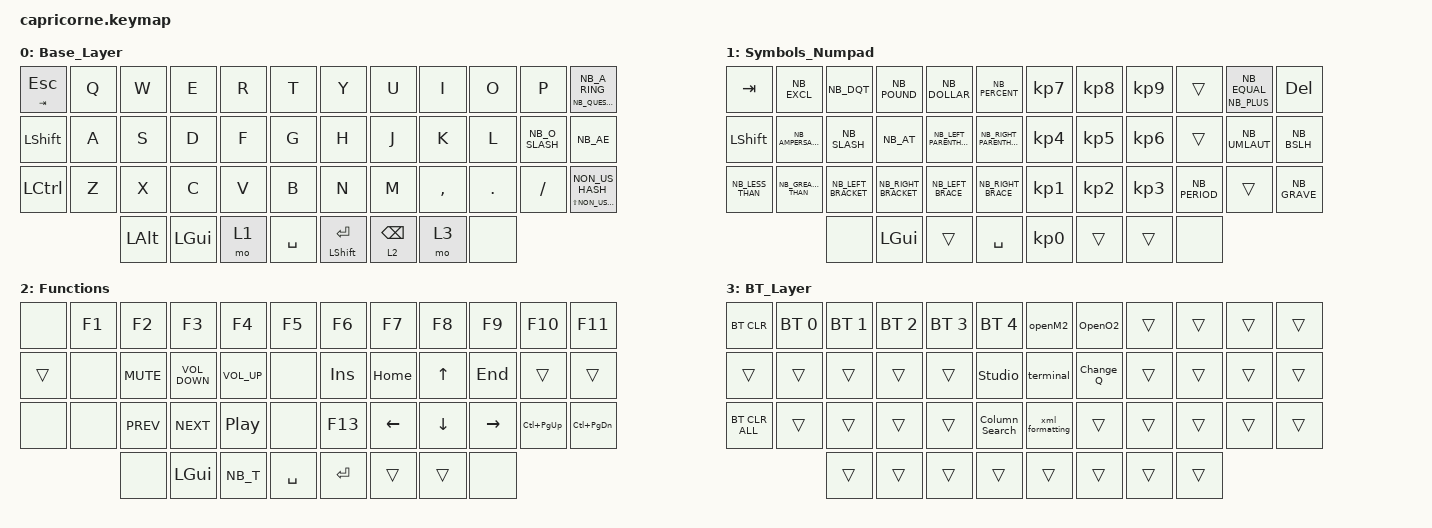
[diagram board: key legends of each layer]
/*
 * Copyright (c) 2020 The ZMK Contributors
 *
 * SPDX-License-Identifier: MIT
 */

#include "keys_nb.h"
#include <behaviors.dtsi>
#include <dt-bindings/zmk/bt.h>
#include <dt-bindings/zmk/keys.h>

/ {
    behaviors {
        Layer_Hold_Tap: Layer_Hold_Tap {
            compatible = "zmk,behavior-hold-tap";
            label = "LAYER_HOLD_TAP";
            bindings = <&mo>, <&kp>;

            #binding-cells = <2>;
            tapping-term-ms = <150>;
            flavor = "balanced";
        };

        Hold_Tap_KP: Hold_Tap_KP {
            compatible = "zmk,behavior-hold-tap";
            label = "HOLD_TAP_KP";
            bindings = <&kp>, <&kp>;

            #binding-cells = <2>;
            tapping-term-ms = <150>;
            flavor = "balanced";
        };
    };

    combos {
        compatible = "zmk,combos";

        Layer2 {
            bindings = <&mo 2>;
            key-positions = <37 38>;
        };

        refresh {
            bindings = <&kp F5>;
            key-positions = <4 5>;
        };
    };

    macros {
        Change_Q: Change_Q {
            compatible = "zmk,behavior-macro";
            #binding-cells = <0>;
            bindings = <&kp LA(NB_E)>;
            label = "CHANGE_Q";
        };

        openM2: openM2 {
            compatible = "zmk,behavior-macro";
            #binding-cells = <0>;
            bindings = <&kp LC(LA(A))>;
            label = "OPENM2";
        };

        OpenO2: OpenO2 {
            compatible = "zmk,behavior-macro";
            #binding-cells = <0>;
            bindings = <&kp LC(LA(O))>;
            label = "OPENO2";
        };

        terminal: terminal {
            compatible = "zmk,behavior-macro";
            #binding-cells = <0>;
            bindings = <&kp LA(W)>;
            label = "TERMINAL";
        };

        Column_Search: Column_Search {
            compatible = "zmk,behavior-macro";
            #binding-cells = <0>;
            bindings = <&kp LSHIFT &kp LEFT_ALT &kp NB_D>;
            label = "COLUMN_SEARCH";
        };

        xml_formatting: xml_formatting {
            compatible = "zmk,behavior-macro";
            #binding-cells = <0>;
            bindings = <&kp LCTRL &kp LEFT_SHIFT &kp LEFT_ALT &kp B>;
            label = "XML_FORMATTING";
        };
    };

    keymap {
        compatible = "zmk,keymap";

        Base_Layer {
            // -----------------------------------------------------------------------------------------
            // |  TAB |  Q  |  W  |  E  |  R  |  T  |   |  Y  |  U   |  I  |  O  |  P  | BSPC |
            // | CTRL |  A  |  S  |  D  |  F  |  G  |   |  H  |  J   |  K  |  L  |  ;  |  '   |
            // | SHFT |  Z  |  X  |  C  |  V  |  B  |   |  N  |  M   |  ,  |  .  |  /  | ESC  |
            //                    | GUI | LWR | SPC |   | ENT | RSE  | ALT |

            bindings = <
&Hold_Tap_KP TAB ESC  &kp Q  &kp W         &kp E     &kp R  &kp T        &kp Y                     &kp U                        &kp I      &kp O    &kp P           &Hold_Tap_KP NB_QUESTION NB_A_RING
&kp LEFT_SHIFT        &kp A  &kp S         &kp D     &kp F  &kp G        &kp H                     &kp J                        &kp K      &kp L    &kp NB_O_SLASH  &kp NB_AE
&kp LEFT_CONTROL      &kp Z  &kp X         &kp C     &kp V  &kp B        &kp N                     &kp M                        &kp COMMA  &kp DOT  &kp SLASH       &Hold_Tap_KP LS(NON_US_HASH) NON_US_HASH
                             &kp LEFT_ALT  &kp LGUI  &mo 1  &kp SPACE    &Hold_Tap_KP LSHFT ENTER  &Layer_Hold_Tap 2 BACKSPACE  &mo 3      &none
            >;
        };

        Symbols_Numpad {
            // -----------------------------------------------------------------------------------------
            // |  TAB |  1  |  2  |  3  |  4  |  5  |   |  6  |  7  |  8  |  9  |  0  | BSPC |
            // | BTCLR| BT1 | BT2 | BT3 | BT4 | BT5 |   | LFT | DWN |  UP | RGT |     |      |
            // | SHFT |     |     |     |     |     |   |     |     |     |     |     |      |
            //                    | GUI |     | SPC |   | ENT |     | ALT |

            bindings = <
&kp TAB           &kp NB_EXCL          &kp NB_DQT           &kp NB_POUND          &kp NB_DOLLAR            &kp NB_PERCENT              &kp KP_N7  &kp KP_N8  &kp KP_N9  &trans         &Hold_Tap_KP NB_PLUS NB_EQUAL  &kp DELETE
&kp LEFT_SHIFT    &kp NB_AMPERSAND     &kp NB_SLASH         &kp NB_AT             &kp NB_LEFT_PARENTHESIS  &kp NB_RIGHT_PARENTHESIS    &kp KP_N4  &kp KP_N5  &kp KP_N6  &trans         &kp NB_UMLAUT                  &kp NB_BSLH
&kp NB_LESS_THAN  &kp NB_GREATER_THAN  &kp NB_LEFT_BRACKET  &kp NB_RIGHT_BRACKET  &kp NB_LEFT_BRACE        &kp NB_RIGHT_BRACE          &kp KP_N1  &kp KP_N2  &kp KP_N3  &kp NB_PERIOD  &trans                         &kp NB_GRAVE
                                       &none                &kp LGUI              &trans                   &kp SPACE                   &kp KP_N0  &trans     &trans     &none
            >;
        };

        Functions {
            // -----------------------------------------------------------------------------------------
            // |  TAB |  !  |  @  |  #  |  $  |  %  |   |  ^  |  &  |  *  |  (  |  )  | BSPC |
            // | CTRL |     |     |     |     |     |   |  -  |  =  |  [  |  ]  |  \  |  `   |
            // | SHFT |     |     |     |     |     |   |  _  |  +  |  {  |  }  | "|" |  ~   |
            //                    | GUI |     | SPC |   | ENT |     | ALT |

            bindings = <
&none   &kp F1  &kp F2      &kp F3             &kp F4            &kp F5       &kp F6   &kp F7          &kp F8    &kp F9     &kp F10          &kp F11
&trans  &none   &kp C_MUTE  &kp C_VOLUME_DOWN  &kp C_VOLUME_UP   &none        &kp INS  &kp HOME        &kp UP    &kp END    &trans           &trans
&none   &none   &kp C_PREV  &kp C_NEXT         &kp C_PLAY_PAUSE  &none        &kp F13  &kp LEFT_ARROW  &kp DOWN  &kp RIGHT  &kp LC(PAGE_UP)  &kp LC(PAGE_DOWN)
                &none       &kp LGUI           &kp NB_T          &kp SPACE    &kp RET  &trans          &trans    &none
            >;
        };

        BT_Layer {
            bindings = <
&bt BT_CLR      &bt BT_SEL 0  &bt BT_SEL 1  &bt BT_SEL 2  &bt BT_SEL 3  &bt BT_SEL 4      &openM2          &OpenO2    &trans  &trans  &trans  &trans
&trans          &trans        &trans        &trans        &trans        &studio_unlock    &terminal        &Change_Q  &trans  &trans  &trans  &trans
&bt BT_CLR_ALL  &trans        &trans        &trans        &trans        &Column_Search    &xml_formatting  &trans     &trans  &trans  &trans  &trans
                              &trans        &trans        &trans        &trans            &trans           &trans     &trans  &trans
            >;
        };
    };
};
